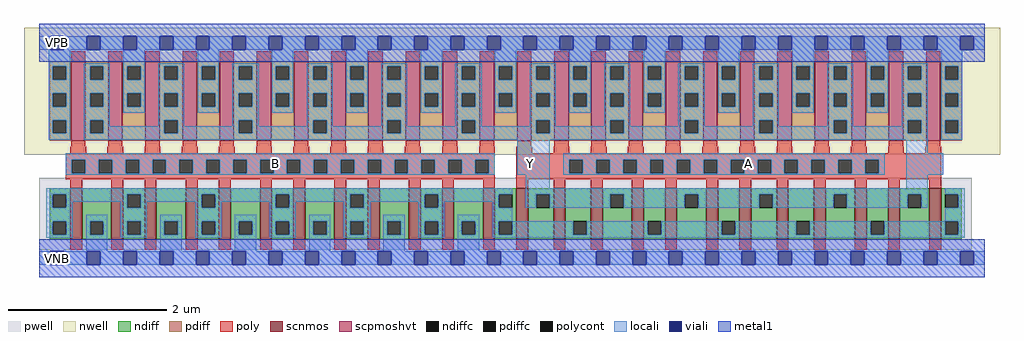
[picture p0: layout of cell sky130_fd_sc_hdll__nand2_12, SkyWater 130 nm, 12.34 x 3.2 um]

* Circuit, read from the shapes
.subckt sky130_fd_sc_hdll__nand2_12 A B VGND VNB VPB VPWR Y
XM1 VGND B n1 VNB sky130_fd_pr__nfet_01v8 w=0.65 l=0.15 m=12
XM2 Y A n1 VNB sky130_fd_pr__nfet_01v8 w=0.65 l=0.15 m=12
XM3 Y B VPWR VPB sky130_fd_pr__pfet_01v8_hvt w=1 l=0.18 m=12
XM4 Y A VPWR VPB sky130_fd_pr__pfet_01v8_hvt w=1 l=0.18 m=12
.ends

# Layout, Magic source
magic
tech sky130A
magscale 1 2
<< nwell >>
rect -38 261 2430 582
<< pwell >>
rect 1 21 2359 203
rect 29 -17 63 21
<< scnmos >>
rect 79 47 109 177
rect 183 47 213 177
rect 267 47 297 177
rect 371 47 401 177
rect 455 47 485 177
rect 559 47 589 177
rect 643 47 673 177
rect 747 47 777 177
rect 831 47 861 177
rect 935 47 965 177
rect 1019 47 1049 177
rect 1123 47 1153 177
rect 1207 47 1237 177
rect 1301 47 1331 177
rect 1395 47 1425 177
rect 1499 47 1529 177
rect 1583 47 1613 177
rect 1687 47 1717 177
rect 1771 47 1801 177
rect 1865 47 1895 177
rect 1959 47 1989 177
rect 2063 47 2093 177
rect 2147 47 2177 177
rect 2251 47 2281 177
<< scpmoshvt >>
rect 81 297 117 497
rect 175 297 211 497
rect 269 297 305 497
rect 363 297 399 497
rect 457 297 493 497
rect 551 297 587 497
rect 645 297 681 497
rect 739 297 775 497
rect 833 297 869 497
rect 927 297 963 497
rect 1021 297 1057 497
rect 1115 297 1151 497
rect 1209 297 1245 497
rect 1303 297 1339 497
rect 1397 297 1433 497
rect 1491 297 1527 497
rect 1585 297 1621 497
rect 1679 297 1715 497
rect 1773 297 1809 497
rect 1867 297 1903 497
rect 1961 297 1997 497
rect 2055 297 2091 497
rect 2149 297 2185 497
rect 2243 297 2279 497
<< ndiff >>
rect 27 161 79 177
rect 27 127 35 161
rect 69 127 79 161
rect 27 93 79 127
rect 27 59 35 93
rect 69 59 79 93
rect 27 47 79 59
rect 109 93 183 177
rect 109 59 129 93
rect 163 59 183 93
rect 109 47 183 59
rect 213 161 267 177
rect 213 127 223 161
rect 257 127 267 161
rect 213 93 267 127
rect 213 59 223 93
rect 257 59 267 93
rect 213 47 267 59
rect 297 93 371 177
rect 297 59 317 93
rect 351 59 371 93
rect 297 47 371 59
rect 401 161 455 177
rect 401 127 411 161
rect 445 127 455 161
rect 401 93 455 127
rect 401 59 411 93
rect 445 59 455 93
rect 401 47 455 59
rect 485 93 559 177
rect 485 59 505 93
rect 539 59 559 93
rect 485 47 559 59
rect 589 161 643 177
rect 589 127 599 161
rect 633 127 643 161
rect 589 93 643 127
rect 589 59 599 93
rect 633 59 643 93
rect 589 47 643 59
rect 673 93 747 177
rect 673 59 693 93
rect 727 59 747 93
rect 673 47 747 59
rect 777 161 831 177
rect 777 127 787 161
rect 821 127 831 161
rect 777 93 831 127
rect 777 59 787 93
rect 821 59 831 93
rect 777 47 831 59
rect 861 93 935 177
rect 861 59 881 93
rect 915 59 935 93
rect 861 47 935 59
rect 965 161 1019 177
rect 965 127 975 161
rect 1009 127 1019 161
rect 965 93 1019 127
rect 965 59 975 93
rect 1009 59 1019 93
rect 965 47 1019 59
rect 1049 93 1123 177
rect 1049 59 1069 93
rect 1103 59 1123 93
rect 1049 47 1123 59
rect 1153 161 1207 177
rect 1153 127 1163 161
rect 1197 127 1207 161
rect 1153 93 1207 127
rect 1153 59 1163 93
rect 1197 59 1207 93
rect 1153 47 1207 59
rect 1237 161 1301 177
rect 1237 127 1257 161
rect 1291 127 1301 161
rect 1237 47 1301 127
rect 1331 93 1395 177
rect 1331 59 1351 93
rect 1385 59 1395 93
rect 1331 47 1395 59
rect 1425 161 1499 177
rect 1425 127 1445 161
rect 1479 127 1499 161
rect 1425 47 1499 127
rect 1529 93 1583 177
rect 1529 59 1539 93
rect 1573 59 1583 93
rect 1529 47 1583 59
rect 1613 161 1687 177
rect 1613 127 1633 161
rect 1667 127 1687 161
rect 1613 47 1687 127
rect 1717 93 1771 177
rect 1717 59 1727 93
rect 1761 59 1771 93
rect 1717 47 1771 59
rect 1801 161 1865 177
rect 1801 127 1821 161
rect 1855 127 1865 161
rect 1801 47 1865 127
rect 1895 93 1959 177
rect 1895 59 1915 93
rect 1949 59 1959 93
rect 1895 47 1959 59
rect 1989 161 2063 177
rect 1989 127 2009 161
rect 2043 127 2063 161
rect 1989 47 2063 127
rect 2093 93 2147 177
rect 2093 59 2103 93
rect 2137 59 2147 93
rect 2093 47 2147 59
rect 2177 161 2251 177
rect 2177 127 2197 161
rect 2231 127 2251 161
rect 2177 47 2251 127
rect 2281 161 2333 177
rect 2281 127 2291 161
rect 2325 127 2333 161
rect 2281 93 2333 127
rect 2281 59 2291 93
rect 2325 59 2333 93
rect 2281 47 2333 59
<< pdiff >>
rect 27 485 81 497
rect 27 451 35 485
rect 69 451 81 485
rect 27 417 81 451
rect 27 383 35 417
rect 69 383 81 417
rect 27 349 81 383
rect 27 315 35 349
rect 69 315 81 349
rect 27 297 81 315
rect 117 485 175 497
rect 117 451 129 485
rect 163 451 175 485
rect 117 417 175 451
rect 117 383 129 417
rect 163 383 175 417
rect 117 349 175 383
rect 117 315 129 349
rect 163 315 175 349
rect 117 297 175 315
rect 211 485 269 497
rect 211 451 223 485
rect 257 451 269 485
rect 211 417 269 451
rect 211 383 223 417
rect 257 383 269 417
rect 211 297 269 383
rect 305 485 363 497
rect 305 451 317 485
rect 351 451 363 485
rect 305 417 363 451
rect 305 383 317 417
rect 351 383 363 417
rect 305 349 363 383
rect 305 315 317 349
rect 351 315 363 349
rect 305 297 363 315
rect 399 485 457 497
rect 399 451 411 485
rect 445 451 457 485
rect 399 417 457 451
rect 399 383 411 417
rect 445 383 457 417
rect 399 297 457 383
rect 493 485 551 497
rect 493 451 505 485
rect 539 451 551 485
rect 493 417 551 451
rect 493 383 505 417
rect 539 383 551 417
rect 493 349 551 383
rect 493 315 505 349
rect 539 315 551 349
rect 493 297 551 315
rect 587 485 645 497
rect 587 451 599 485
rect 633 451 645 485
rect 587 417 645 451
rect 587 383 599 417
rect 633 383 645 417
rect 587 297 645 383
rect 681 485 739 497
rect 681 451 693 485
rect 727 451 739 485
rect 681 417 739 451
rect 681 383 693 417
rect 727 383 739 417
rect 681 349 739 383
rect 681 315 693 349
rect 727 315 739 349
rect 681 297 739 315
rect 775 485 833 497
rect 775 451 787 485
rect 821 451 833 485
rect 775 417 833 451
rect 775 383 787 417
rect 821 383 833 417
rect 775 297 833 383
rect 869 485 927 497
rect 869 451 881 485
rect 915 451 927 485
rect 869 417 927 451
rect 869 383 881 417
rect 915 383 927 417
rect 869 349 927 383
rect 869 315 881 349
rect 915 315 927 349
rect 869 297 927 315
rect 963 485 1021 497
rect 963 451 975 485
rect 1009 451 1021 485
rect 963 417 1021 451
rect 963 383 975 417
rect 1009 383 1021 417
rect 963 297 1021 383
rect 1057 485 1115 497
rect 1057 451 1069 485
rect 1103 451 1115 485
rect 1057 417 1115 451
rect 1057 383 1069 417
rect 1103 383 1115 417
rect 1057 349 1115 383
rect 1057 315 1069 349
rect 1103 315 1115 349
rect 1057 297 1115 315
rect 1151 485 1209 497
rect 1151 451 1163 485
rect 1197 451 1209 485
rect 1151 417 1209 451
rect 1151 383 1163 417
rect 1197 383 1209 417
rect 1151 297 1209 383
rect 1245 485 1303 497
rect 1245 451 1257 485
rect 1291 451 1303 485
rect 1245 417 1303 451
rect 1245 383 1257 417
rect 1291 383 1303 417
rect 1245 349 1303 383
rect 1245 315 1257 349
rect 1291 315 1303 349
rect 1245 297 1303 315
rect 1339 485 1397 497
rect 1339 451 1351 485
rect 1385 451 1397 485
rect 1339 417 1397 451
rect 1339 383 1351 417
rect 1385 383 1397 417
rect 1339 297 1397 383
rect 1433 485 1491 497
rect 1433 451 1445 485
rect 1479 451 1491 485
rect 1433 417 1491 451
rect 1433 383 1445 417
rect 1479 383 1491 417
rect 1433 349 1491 383
rect 1433 315 1445 349
rect 1479 315 1491 349
rect 1433 297 1491 315
rect 1527 485 1585 497
rect 1527 451 1539 485
rect 1573 451 1585 485
rect 1527 417 1585 451
rect 1527 383 1539 417
rect 1573 383 1585 417
rect 1527 297 1585 383
rect 1621 485 1679 497
rect 1621 451 1633 485
rect 1667 451 1679 485
rect 1621 417 1679 451
rect 1621 383 1633 417
rect 1667 383 1679 417
rect 1621 349 1679 383
rect 1621 315 1633 349
rect 1667 315 1679 349
rect 1621 297 1679 315
rect 1715 485 1773 497
rect 1715 451 1727 485
rect 1761 451 1773 485
rect 1715 417 1773 451
rect 1715 383 1727 417
rect 1761 383 1773 417
rect 1715 297 1773 383
rect 1809 485 1867 497
rect 1809 451 1821 485
rect 1855 451 1867 485
rect 1809 417 1867 451
rect 1809 383 1821 417
rect 1855 383 1867 417
rect 1809 349 1867 383
rect 1809 315 1821 349
rect 1855 315 1867 349
rect 1809 297 1867 315
rect 1903 485 1961 497
rect 1903 451 1915 485
rect 1949 451 1961 485
rect 1903 417 1961 451
rect 1903 383 1915 417
rect 1949 383 1961 417
rect 1903 297 1961 383
rect 1997 485 2055 497
rect 1997 451 2009 485
rect 2043 451 2055 485
rect 1997 417 2055 451
rect 1997 383 2009 417
rect 2043 383 2055 417
rect 1997 349 2055 383
rect 1997 315 2009 349
rect 2043 315 2055 349
rect 1997 297 2055 315
rect 2091 485 2149 497
rect 2091 451 2103 485
rect 2137 451 2149 485
rect 2091 417 2149 451
rect 2091 383 2103 417
rect 2137 383 2149 417
rect 2091 297 2149 383
rect 2185 485 2243 497
rect 2185 451 2197 485
rect 2231 451 2243 485
rect 2185 417 2243 451
rect 2185 383 2197 417
rect 2231 383 2243 417
rect 2185 349 2243 383
rect 2185 315 2197 349
rect 2231 315 2243 349
rect 2185 297 2243 315
rect 2279 485 2333 497
rect 2279 451 2291 485
rect 2325 451 2333 485
rect 2279 417 2333 451
rect 2279 383 2291 417
rect 2325 383 2333 417
rect 2279 349 2333 383
rect 2279 315 2291 349
rect 2325 315 2333 349
rect 2279 297 2333 315
<< ndiffc >>
rect 35 127 69 161
rect 35 59 69 93
rect 129 59 163 93
rect 223 127 257 161
rect 223 59 257 93
rect 317 59 351 93
rect 411 127 445 161
rect 411 59 445 93
rect 505 59 539 93
rect 599 127 633 161
rect 599 59 633 93
rect 693 59 727 93
rect 787 127 821 161
rect 787 59 821 93
rect 881 59 915 93
rect 975 127 1009 161
rect 975 59 1009 93
rect 1069 59 1103 93
rect 1163 127 1197 161
rect 1163 59 1197 93
rect 1257 127 1291 161
rect 1351 59 1385 93
rect 1445 127 1479 161
rect 1539 59 1573 93
rect 1633 127 1667 161
rect 1727 59 1761 93
rect 1821 127 1855 161
rect 1915 59 1949 93
rect 2009 127 2043 161
rect 2103 59 2137 93
rect 2197 127 2231 161
rect 2291 127 2325 161
rect 2291 59 2325 93
<< pdiffc >>
rect 35 451 69 485
rect 35 383 69 417
rect 35 315 69 349
rect 129 451 163 485
rect 129 383 163 417
rect 129 315 163 349
rect 223 451 257 485
rect 223 383 257 417
rect 317 451 351 485
rect 317 383 351 417
rect 317 315 351 349
rect 411 451 445 485
rect 411 383 445 417
rect 505 451 539 485
rect 505 383 539 417
rect 505 315 539 349
rect 599 451 633 485
rect 599 383 633 417
rect 693 451 727 485
rect 693 383 727 417
rect 693 315 727 349
rect 787 451 821 485
rect 787 383 821 417
rect 881 451 915 485
rect 881 383 915 417
rect 881 315 915 349
rect 975 451 1009 485
rect 975 383 1009 417
rect 1069 451 1103 485
rect 1069 383 1103 417
rect 1069 315 1103 349
rect 1163 451 1197 485
rect 1163 383 1197 417
rect 1257 451 1291 485
rect 1257 383 1291 417
rect 1257 315 1291 349
rect 1351 451 1385 485
rect 1351 383 1385 417
rect 1445 451 1479 485
rect 1445 383 1479 417
rect 1445 315 1479 349
rect 1539 451 1573 485
rect 1539 383 1573 417
rect 1633 451 1667 485
rect 1633 383 1667 417
rect 1633 315 1667 349
rect 1727 451 1761 485
rect 1727 383 1761 417
rect 1821 451 1855 485
rect 1821 383 1855 417
rect 1821 315 1855 349
rect 1915 451 1949 485
rect 1915 383 1949 417
rect 2009 451 2043 485
rect 2009 383 2043 417
rect 2009 315 2043 349
rect 2103 451 2137 485
rect 2103 383 2137 417
rect 2197 451 2231 485
rect 2197 383 2231 417
rect 2197 315 2231 349
rect 2291 451 2325 485
rect 2291 383 2325 417
rect 2291 315 2325 349
<< poly >>
rect 81 497 117 523
rect 175 497 211 523
rect 269 497 305 523
rect 363 497 399 523
rect 457 497 493 523
rect 551 497 587 523
rect 645 497 681 523
rect 739 497 775 523
rect 833 497 869 523
rect 927 497 963 523
rect 1021 497 1057 523
rect 1115 497 1151 523
rect 1209 497 1245 523
rect 1303 497 1339 523
rect 1397 497 1433 523
rect 1491 497 1527 523
rect 1585 497 1621 523
rect 1679 497 1715 523
rect 1773 497 1809 523
rect 1867 497 1903 523
rect 1961 497 1997 523
rect 2055 497 2091 523
rect 2149 497 2185 523
rect 2243 497 2279 523
rect 81 282 117 297
rect 175 282 211 297
rect 269 282 305 297
rect 363 282 399 297
rect 457 282 493 297
rect 551 282 587 297
rect 645 282 681 297
rect 739 282 775 297
rect 833 282 869 297
rect 927 282 963 297
rect 1021 282 1057 297
rect 1115 282 1151 297
rect 1209 282 1245 297
rect 1303 282 1339 297
rect 1397 282 1433 297
rect 1491 282 1527 297
rect 1585 282 1621 297
rect 1679 282 1715 297
rect 1773 282 1809 297
rect 1867 282 1903 297
rect 1961 282 1997 297
rect 2055 282 2091 297
rect 2149 282 2185 297
rect 2243 282 2279 297
rect 79 265 119 282
rect 173 265 213 282
rect 267 265 307 282
rect 361 265 401 282
rect 455 265 495 282
rect 549 265 589 282
rect 643 265 683 282
rect 737 265 777 282
rect 831 265 871 282
rect 925 265 965 282
rect 1019 265 1059 282
rect 1113 265 1153 282
rect 67 249 1153 265
rect 67 215 83 249
rect 117 215 151 249
rect 185 215 219 249
rect 253 215 287 249
rect 321 215 355 249
rect 389 215 423 249
rect 457 215 491 249
rect 525 215 559 249
rect 593 215 627 249
rect 661 215 695 249
rect 729 215 763 249
rect 797 215 831 249
rect 865 215 899 249
rect 933 215 967 249
rect 1001 215 1035 249
rect 1069 215 1103 249
rect 1137 215 1153 249
rect 67 199 1153 215
rect 79 177 109 199
rect 183 177 213 199
rect 267 177 297 199
rect 371 177 401 199
rect 455 177 485 199
rect 559 177 589 199
rect 643 177 673 199
rect 747 177 777 199
rect 831 177 861 199
rect 935 177 965 199
rect 1019 177 1049 199
rect 1123 177 1153 199
rect 1207 265 1247 282
rect 1301 265 1341 282
rect 1395 265 1435 282
rect 1489 265 1529 282
rect 1583 265 1623 282
rect 1677 265 1717 282
rect 1771 265 1811 282
rect 1865 265 1905 282
rect 1959 265 1999 282
rect 2053 265 2093 282
rect 2147 265 2187 282
rect 2241 265 2281 282
rect 1207 249 2281 265
rect 1207 215 1341 249
rect 1375 215 1409 249
rect 1443 215 1477 249
rect 1511 215 1545 249
rect 1579 215 1613 249
rect 1647 215 1681 249
rect 1715 215 1749 249
rect 1783 215 1817 249
rect 1851 215 1885 249
rect 1919 215 1953 249
rect 1987 215 2021 249
rect 2055 215 2089 249
rect 2123 215 2281 249
rect 1207 199 2281 215
rect 1207 177 1237 199
rect 1301 177 1331 199
rect 1395 177 1425 199
rect 1499 177 1529 199
rect 1583 177 1613 199
rect 1687 177 1717 199
rect 1771 177 1801 199
rect 1865 177 1895 199
rect 1959 177 1989 199
rect 2063 177 2093 199
rect 2147 177 2177 199
rect 2251 177 2281 199
rect 79 21 109 47
rect 183 21 213 47
rect 267 21 297 47
rect 371 21 401 47
rect 455 21 485 47
rect 559 21 589 47
rect 643 21 673 47
rect 747 21 777 47
rect 831 21 861 47
rect 935 21 965 47
rect 1019 21 1049 47
rect 1123 21 1153 47
rect 1207 21 1237 47
rect 1301 21 1331 47
rect 1395 21 1425 47
rect 1499 21 1529 47
rect 1583 21 1613 47
rect 1687 21 1717 47
rect 1771 21 1801 47
rect 1865 21 1895 47
rect 1959 21 1989 47
rect 2063 21 2093 47
rect 2147 21 2177 47
rect 2251 21 2281 47
<< polycont >>
rect 83 215 117 249
rect 151 215 185 249
rect 219 215 253 249
rect 287 215 321 249
rect 355 215 389 249
rect 423 215 457 249
rect 491 215 525 249
rect 559 215 593 249
rect 627 215 661 249
rect 695 215 729 249
rect 763 215 797 249
rect 831 215 865 249
rect 899 215 933 249
rect 967 215 1001 249
rect 1035 215 1069 249
rect 1103 215 1137 249
rect 1341 215 1375 249
rect 1409 215 1443 249
rect 1477 215 1511 249
rect 1545 215 1579 249
rect 1613 215 1647 249
rect 1681 215 1715 249
rect 1749 215 1783 249
rect 1817 215 1851 249
rect 1885 215 1919 249
rect 1953 215 1987 249
rect 2021 215 2055 249
rect 2089 215 2123 249
<< locali >>
rect 0 527 29 561
rect 63 527 121 561
rect 155 527 213 561
rect 247 527 305 561
rect 339 527 397 561
rect 431 527 489 561
rect 523 527 581 561
rect 615 527 673 561
rect 707 527 765 561
rect 799 527 857 561
rect 891 527 949 561
rect 983 527 1041 561
rect 1075 527 1133 561
rect 1167 527 1225 561
rect 1259 527 1317 561
rect 1351 527 1409 561
rect 1443 527 1501 561
rect 1535 527 1593 561
rect 1627 527 1685 561
rect 1719 527 1777 561
rect 1811 527 1869 561
rect 1903 527 1961 561
rect 1995 527 2053 561
rect 2087 527 2145 561
rect 2179 527 2237 561
rect 2271 527 2329 561
rect 2363 527 2392 561
rect 25 485 79 527
rect 25 451 35 485
rect 69 451 79 485
rect 25 417 79 451
rect 25 383 35 417
rect 69 383 79 417
rect 25 349 79 383
rect 25 315 35 349
rect 69 315 79 349
rect 25 299 79 315
rect 113 485 179 493
rect 113 451 129 485
rect 163 451 179 485
rect 113 417 179 451
rect 113 383 129 417
rect 163 383 179 417
rect 113 349 179 383
rect 213 485 267 527
rect 213 451 223 485
rect 257 451 267 485
rect 213 417 267 451
rect 213 383 223 417
rect 257 383 267 417
rect 213 367 267 383
rect 301 485 367 493
rect 301 451 317 485
rect 351 451 367 485
rect 301 417 367 451
rect 301 383 317 417
rect 351 383 367 417
rect 113 315 129 349
rect 163 333 179 349
rect 301 349 367 383
rect 401 485 455 527
rect 401 451 411 485
rect 445 451 455 485
rect 401 417 455 451
rect 401 383 411 417
rect 445 383 455 417
rect 401 367 455 383
rect 489 485 555 493
rect 489 451 505 485
rect 539 451 555 485
rect 489 417 555 451
rect 489 383 505 417
rect 539 383 555 417
rect 301 333 317 349
rect 163 315 317 333
rect 351 333 367 349
rect 489 349 555 383
rect 589 485 643 527
rect 589 451 599 485
rect 633 451 643 485
rect 589 417 643 451
rect 589 383 599 417
rect 633 383 643 417
rect 589 367 643 383
rect 677 485 743 493
rect 677 451 693 485
rect 727 451 743 485
rect 677 417 743 451
rect 677 383 693 417
rect 727 383 743 417
rect 489 333 505 349
rect 351 315 505 333
rect 539 333 555 349
rect 677 349 743 383
rect 777 485 831 527
rect 777 451 787 485
rect 821 451 831 485
rect 777 417 831 451
rect 777 383 787 417
rect 821 383 831 417
rect 777 367 831 383
rect 865 485 931 493
rect 865 451 881 485
rect 915 451 931 485
rect 865 417 931 451
rect 865 383 881 417
rect 915 383 931 417
rect 677 333 693 349
rect 539 315 693 333
rect 727 333 743 349
rect 865 349 931 383
rect 965 485 1019 527
rect 965 451 975 485
rect 1009 451 1019 485
rect 965 417 1019 451
rect 965 383 975 417
rect 1009 383 1019 417
rect 965 367 1019 383
rect 1053 485 1119 493
rect 1053 451 1069 485
rect 1103 451 1119 485
rect 1053 417 1119 451
rect 1053 383 1069 417
rect 1103 383 1119 417
rect 865 333 881 349
rect 727 315 881 333
rect 915 333 931 349
rect 1053 349 1119 383
rect 1153 485 1207 527
rect 1153 451 1163 485
rect 1197 451 1207 485
rect 1153 417 1207 451
rect 1153 383 1163 417
rect 1197 383 1207 417
rect 1153 367 1207 383
rect 1241 485 1307 493
rect 1241 451 1257 485
rect 1291 451 1307 485
rect 1241 417 1307 451
rect 1241 383 1257 417
rect 1291 383 1307 417
rect 1053 333 1069 349
rect 915 315 1069 333
rect 1103 333 1119 349
rect 1241 349 1307 383
rect 1341 485 1395 527
rect 1341 451 1351 485
rect 1385 451 1395 485
rect 1341 417 1395 451
rect 1341 383 1351 417
rect 1385 383 1395 417
rect 1341 367 1395 383
rect 1429 485 1495 493
rect 1429 451 1445 485
rect 1479 451 1495 485
rect 1429 417 1495 451
rect 1429 383 1445 417
rect 1479 383 1495 417
rect 1241 333 1257 349
rect 1103 315 1257 333
rect 1291 333 1307 349
rect 1429 349 1495 383
rect 1529 485 1583 527
rect 1529 451 1539 485
rect 1573 451 1583 485
rect 1529 417 1583 451
rect 1529 383 1539 417
rect 1573 383 1583 417
rect 1529 367 1583 383
rect 1617 485 1683 493
rect 1617 451 1633 485
rect 1667 451 1683 485
rect 1617 417 1683 451
rect 1617 383 1633 417
rect 1667 383 1683 417
rect 1429 333 1445 349
rect 1291 315 1445 333
rect 1479 333 1495 349
rect 1617 349 1683 383
rect 1717 485 1771 527
rect 1717 451 1727 485
rect 1761 451 1771 485
rect 1717 417 1771 451
rect 1717 383 1727 417
rect 1761 383 1771 417
rect 1717 367 1771 383
rect 1805 485 1871 493
rect 1805 451 1821 485
rect 1855 451 1871 485
rect 1805 417 1871 451
rect 1805 383 1821 417
rect 1855 383 1871 417
rect 1617 333 1633 349
rect 1479 315 1633 333
rect 1667 333 1683 349
rect 1805 349 1871 383
rect 1905 485 1959 527
rect 1905 451 1915 485
rect 1949 451 1959 485
rect 1905 417 1959 451
rect 1905 383 1915 417
rect 1949 383 1959 417
rect 1905 367 1959 383
rect 1993 485 2059 493
rect 1993 451 2009 485
rect 2043 451 2059 485
rect 1993 417 2059 451
rect 1993 383 2009 417
rect 2043 383 2059 417
rect 1805 333 1821 349
rect 1667 315 1821 333
rect 1855 333 1871 349
rect 1993 349 2059 383
rect 2093 485 2147 527
rect 2093 451 2103 485
rect 2137 451 2147 485
rect 2093 417 2147 451
rect 2093 383 2103 417
rect 2137 383 2147 417
rect 2093 367 2147 383
rect 2181 485 2247 493
rect 2181 451 2197 485
rect 2231 451 2247 485
rect 2181 417 2247 451
rect 2181 383 2197 417
rect 2231 383 2247 417
rect 1993 333 2009 349
rect 1855 315 2009 333
rect 2043 333 2059 349
rect 2181 349 2247 383
rect 2181 333 2197 349
rect 2043 315 2197 333
rect 2231 315 2247 349
rect 113 299 2247 315
rect 2281 485 2335 527
rect 2281 451 2291 485
rect 2325 451 2335 485
rect 2281 417 2335 451
rect 2281 383 2291 417
rect 2325 383 2335 417
rect 2281 349 2335 383
rect 2281 315 2291 349
rect 2325 315 2335 349
rect 2281 299 2335 315
rect 67 249 1153 265
rect 67 215 83 249
rect 117 215 151 249
rect 185 215 219 249
rect 253 215 287 249
rect 321 215 355 249
rect 389 215 423 249
rect 457 215 491 249
rect 525 215 559 249
rect 593 215 627 249
rect 661 215 695 249
rect 729 215 763 249
rect 797 215 831 249
rect 865 215 899 249
rect 933 215 967 249
rect 1001 215 1035 249
rect 1069 215 1103 249
rect 1137 215 1153 249
rect 67 211 1153 215
rect 1209 211 1291 299
rect 2193 265 2247 299
rect 1325 249 2139 265
rect 1325 215 1341 249
rect 1375 215 1409 249
rect 1443 215 1477 249
rect 1511 215 1545 249
rect 1579 215 1613 249
rect 1647 215 1681 249
rect 1715 215 1749 249
rect 1783 215 1817 249
rect 1851 215 1885 249
rect 1919 215 1953 249
rect 1987 215 2021 249
rect 2055 215 2089 249
rect 2123 215 2139 249
rect 1325 211 2139 215
rect 2193 211 2287 265
rect 1231 177 1291 211
rect 2193 177 2247 211
rect 18 161 1197 177
rect 18 127 35 161
rect 69 143 223 161
rect 69 127 85 143
rect 18 93 85 127
rect 207 127 223 143
rect 257 143 411 161
rect 257 127 273 143
rect 18 59 35 93
rect 69 59 85 93
rect 18 51 85 59
rect 119 93 173 109
rect 119 59 129 93
rect 163 59 173 93
rect 119 17 173 59
rect 207 93 273 127
rect 395 127 411 143
rect 445 143 599 161
rect 445 127 461 143
rect 207 59 223 93
rect 257 59 273 93
rect 207 51 273 59
rect 307 93 361 109
rect 307 59 317 93
rect 351 59 361 93
rect 307 17 361 59
rect 395 93 461 127
rect 583 127 599 143
rect 633 143 787 161
rect 633 127 649 143
rect 395 59 411 93
rect 445 59 461 93
rect 395 51 461 59
rect 495 93 549 109
rect 495 59 505 93
rect 539 59 549 93
rect 495 17 549 59
rect 583 93 649 127
rect 771 127 787 143
rect 821 143 975 161
rect 821 127 837 143
rect 583 59 599 93
rect 633 59 649 93
rect 583 51 649 59
rect 683 93 737 109
rect 683 59 693 93
rect 727 59 737 93
rect 683 17 737 59
rect 771 93 837 127
rect 959 127 975 143
rect 1009 143 1163 161
rect 1009 127 1025 143
rect 771 59 787 93
rect 821 59 837 93
rect 771 51 837 59
rect 871 93 925 109
rect 871 59 881 93
rect 915 59 925 93
rect 871 17 925 59
rect 959 93 1025 127
rect 1147 127 1163 143
rect 1231 161 2247 177
rect 1231 127 1257 161
rect 1291 127 1445 161
rect 1479 127 1633 161
rect 1667 127 1821 161
rect 1855 127 2009 161
rect 2043 127 2197 161
rect 2231 127 2247 161
rect 2291 161 2341 177
rect 2325 127 2341 161
rect 959 59 975 93
rect 1009 59 1025 93
rect 959 51 1025 59
rect 1059 93 1113 109
rect 1059 59 1069 93
rect 1103 59 1113 93
rect 1059 17 1113 59
rect 1147 93 1197 127
rect 2291 93 2341 127
rect 1147 59 1163 93
rect 1197 59 1351 93
rect 1385 59 1539 93
rect 1573 59 1727 93
rect 1761 59 1915 93
rect 1949 59 2103 93
rect 2137 59 2291 93
rect 2325 59 2341 93
rect 1147 51 2341 59
rect 0 -17 29 17
rect 63 -17 121 17
rect 155 -17 213 17
rect 247 -17 305 17
rect 339 -17 397 17
rect 431 -17 489 17
rect 523 -17 581 17
rect 615 -17 673 17
rect 707 -17 765 17
rect 799 -17 857 17
rect 891 -17 949 17
rect 983 -17 1041 17
rect 1075 -17 1133 17
rect 1167 -17 1225 17
rect 1259 -17 1317 17
rect 1351 -17 1409 17
rect 1443 -17 1501 17
rect 1535 -17 1593 17
rect 1627 -17 1685 17
rect 1719 -17 1777 17
rect 1811 -17 1869 17
rect 1903 -17 1961 17
rect 1995 -17 2053 17
rect 2087 -17 2145 17
rect 2179 -17 2237 17
rect 2271 -17 2329 17
rect 2363 -17 2392 17
<< viali >>
rect 29 527 63 561
rect 121 527 155 561
rect 213 527 247 561
rect 305 527 339 561
rect 397 527 431 561
rect 489 527 523 561
rect 581 527 615 561
rect 673 527 707 561
rect 765 527 799 561
rect 857 527 891 561
rect 949 527 983 561
rect 1041 527 1075 561
rect 1133 527 1167 561
rect 1225 527 1259 561
rect 1317 527 1351 561
rect 1409 527 1443 561
rect 1501 527 1535 561
rect 1593 527 1627 561
rect 1685 527 1719 561
rect 1777 527 1811 561
rect 1869 527 1903 561
rect 1961 527 1995 561
rect 2053 527 2087 561
rect 2145 527 2179 561
rect 2237 527 2271 561
rect 2329 527 2363 561
rect 29 -17 63 17
rect 121 -17 155 17
rect 213 -17 247 17
rect 305 -17 339 17
rect 397 -17 431 17
rect 489 -17 523 17
rect 581 -17 615 17
rect 673 -17 707 17
rect 765 -17 799 17
rect 857 -17 891 17
rect 949 -17 983 17
rect 1041 -17 1075 17
rect 1133 -17 1167 17
rect 1225 -17 1259 17
rect 1317 -17 1351 17
rect 1409 -17 1443 17
rect 1501 -17 1535 17
rect 1593 -17 1627 17
rect 1685 -17 1719 17
rect 1777 -17 1811 17
rect 1869 -17 1903 17
rect 1961 -17 1995 17
rect 2053 -17 2087 17
rect 2145 -17 2179 17
rect 2237 -17 2271 17
rect 2329 -17 2363 17
<< metal1 >>
rect 0 561 2392 592
rect 0 527 29 561
rect 63 527 121 561
rect 155 527 213 561
rect 247 527 305 561
rect 339 527 397 561
rect 431 527 489 561
rect 523 527 581 561
rect 615 527 673 561
rect 707 527 765 561
rect 799 527 857 561
rect 891 527 949 561
rect 983 527 1041 561
rect 1075 527 1133 561
rect 1167 527 1225 561
rect 1259 527 1317 561
rect 1351 527 1409 561
rect 1443 527 1501 561
rect 1535 527 1593 561
rect 1627 527 1685 561
rect 1719 527 1777 561
rect 1811 527 1869 561
rect 1903 527 1961 561
rect 1995 527 2053 561
rect 2087 527 2145 561
rect 2179 527 2237 561
rect 2271 527 2329 561
rect 2363 527 2392 561
rect 0 496 2392 527
rect 0 17 2392 48
rect 0 -17 29 17
rect 63 -17 121 17
rect 155 -17 213 17
rect 247 -17 305 17
rect 339 -17 397 17
rect 431 -17 489 17
rect 523 -17 581 17
rect 615 -17 673 17
rect 707 -17 765 17
rect 799 -17 857 17
rect 891 -17 949 17
rect 983 -17 1041 17
rect 1075 -17 1133 17
rect 1167 -17 1225 17
rect 1259 -17 1317 17
rect 1351 -17 1409 17
rect 1443 -17 1501 17
rect 1535 -17 1593 17
rect 1627 -17 1685 17
rect 1719 -17 1777 17
rect 1811 -17 1869 17
rect 1903 -17 1961 17
rect 1995 -17 2053 17
rect 2087 -17 2145 17
rect 2179 -17 2237 17
rect 2271 -17 2329 17
rect 2363 -17 2392 17
rect 0 -48 2392 -17
<< labels >>
flabel locali s 1225 221 1259 255 0 FreeSans 250 0 0 0 Y
port 7 nsew signal output
flabel locali s 1777 221 1811 255 0 FreeSans 250 0 0 0 A
port 1 nsew signal input
flabel locali s 581 221 615 255 0 FreeSans 250 0 0 0 B
port 2 nsew signal input
flabel nwell s 29 527 63 561 0 FreeSans 200 0 0 0 VPB
port 5 nsew power bidirectional
flabel pwell s 29 -17 63 17 0 FreeSans 200 0 0 0 VNB
port 4 nsew ground bidirectional
flabel metal1 s 29 -17 63 17 0 FreeSans 200 0 0 0 VGND
port 3 nsew ground bidirectional
flabel metal1 s 29 527 63 561 0 FreeSans 200 0 0 0 VPWR
port 6 nsew power bidirectional
rlabel comment s 0 0 0 0 4 nand2_12
<< properties >>
string LEFsite unithd
string LEFclass CORE
string FIXED_BBOX 0 0 2392 544
string GDS_FILE $PDKPATH/libs.ref/sky130_fd_sc_hdll/gds/sky130_fd_sc_hdll.gds
string LEFsymmetry X Y R90
string GDS_END 3494972
string GDS_START 3477956
string LEFproperties maskLayoutSubType "abstract" prCellType "standard" originalViewName "layout"
<< end >>
